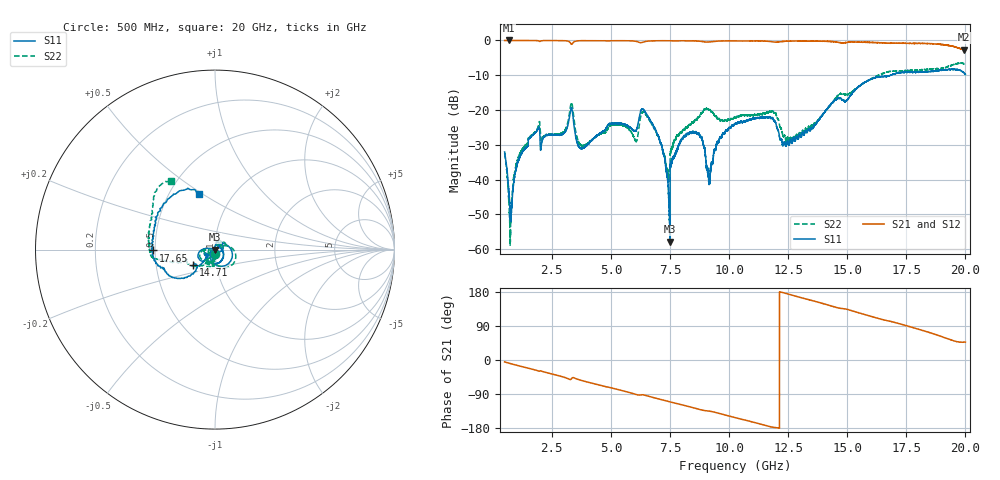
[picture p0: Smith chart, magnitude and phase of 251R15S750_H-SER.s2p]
!{251R15S750}
!Johanson Technology Inc.
!www.johansontechnology.com
!Test Board Conditions:
!Substrate Type  RO4350B
!Substrate Thickness  20 mil
!Substrate Dk  3.66
!TL Type: GCPW
!TL Trace Width  34 mil
!TL Gap  10 mil
!Electrode orientation  Horizontal
!DUT TOPOLOGY	SERIES
!Mounting Pad LxW  26x52 mil
! Created Thu Mar 12 17:16:15 2020
# mhz S ma R 50
! 2 Port Network Data from SP1.SP block
! freq  magS11  angS11  magS21  angS21  magS12  angS12  magS22  angS22
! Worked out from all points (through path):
!   19501 points, 500 MHz to 20 GHz, reference 50 ohm
!   highest |S21| = 0.00 dB at 672 MHz (marker M1); lowest = -2.6 dB at 19.92 GHz (marker M2)
!   group delay of S21, straight-line fit = 43.5 ps
!   lowest |S11| = -57.9 dB at 7.492 GHz (marker M3), VSWR 1.00, Z = 49.9 - j0.00239 ohm
!   |S11| at or under -10 dB: start of sweep to 16.82 GHz
!   |S22| runs from -59.2 to -6.5 dB; largest |S21 - S12| = 0.021
!   S11 on the Smith chart (normalised r, x): 500 MHz: 0.99, -0.05; 14.71 GHz: 0.77, -0.14; 17.65 GHz: 0.49, -0.01; 20 GHz: 0.70, +0.49
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500  0.02496 -98.6  0.9987 -4.9  0.9991 -4.9  0.02394 -94.1
672  0.006855 -119.5  0.9995 -8.1  0.9982 -8.2  0.005547 -87.9
791  0.003811 125.8  0.999 -10.3  0.9986 -10.2  0.004582 55.0
1107  0.01974 87.0  0.9984 -15.4  0.9986 -15.5  0.0217 64.5
1904  0.05291 69.7  0.9935 -28.4  0.9927 -28.4  0.05555 47.6
2897  0.04392 59.6  0.9935 -43.3  0.9929 -43.3  0.04587 27.8
3327  0.1088 -40.4  0.8805 -49.7  0.8808 -49.8  0.129 -33.1
3750  0.02791 -148.2  0.9915 -53.9  0.9913 -53.9  0.03054 -119.9
6052  0.05021 -142.0  0.971 -90.7  0.9722 -90.7  0.03568 -154.5
6342  0.1032 -154.0  0.9425 -91.8  0.942 -91.8  0.09314 -148.5
7000  0.04267 169.2  0.9886 -102.4  0.9912 -102.4  0.04182 -178.8
7492  0.001279 -178.9  0.9904 -110.4  0.9905 -110.4  0.01023 -108.9
8145  0.04232 38.2  0.9881 -120.4  0.9879 -120.5  0.05449 -100.5
8779  0.04091 -0.1  0.9727 -131.0  0.972 -131.0  0.08447 -101.4
9141  0.01036 6.7  0.9517 -134.8  0.951 -134.8  0.1012 -119.6
10250  0.06334 -41.9  0.9857 -151.9  0.9856 -151.9  0.07755 -97.7
13500  0.05573 -144.4  0.9752 157.0  0.978 157.1  0.0612 -95.0
14705  0.1478 -144.7  0.9289 136.3  0.9279 136.4  0.1708 -153.6
16750  0.3087 -160.7  0.9159 103.2  0.9044 102.6  0.356 -173.5
17646  0.3456 -179.2  0.9073 88.1  0.9009 87.6  0.3688 175.6
19922  0.3469 108.1  0.7404 47.0  0.7405 47.3  0.4632 125.3
20000  0.3246 105.9  0.7433 47.3  0.7403 47.5  0.4561 122.5
